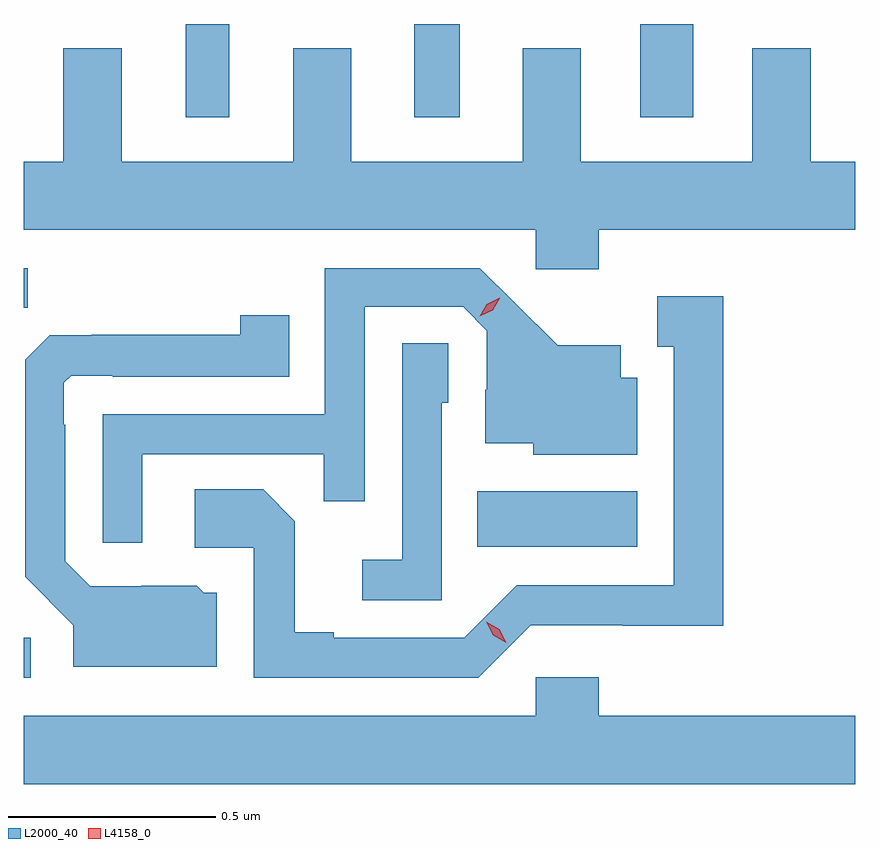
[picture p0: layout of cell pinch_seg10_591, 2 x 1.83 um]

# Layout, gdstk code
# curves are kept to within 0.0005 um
import gdstk
lib = gdstk.Library(unit=1e-6, precision=1e-09)
def R(c, l, rs):  # rectangles x0, y0, x1, y1
    for r in rs: c.add(gdstk.rectangle(r[:2], r[2:], *l))
def P(c, l, *ps):  # polygons
    for p in ps: c.add(gdstk.Polygon(p, *l))
L2000_40 = (2000, 40)
L4158_0 = (4158, 0)

pinch_seg10_591 = lib.new_cell('pinch_seg10_591')
R(pinch_seg10_591, L2000_40, [(338.297,1256.616,338.314,1256.712), (339.388,1256.93,339.772,1257.064), (338.297,1257.505,338.307,1257.6), (338.687,1257.963,338.791,1258.187), (339.236,1257.963,339.346,1258.187), (339.779,1257.963,339.907,1258.187)])
P(pinch_seg10_591, L2000_40, [(339.68,1257.692),(340.297,1257.692),(340.297,1257.856),(340.189,1257.856),(340.189,1258.129),(340.049,1258.129),(340.049,1257.856),(339.637,1257.856),(339.637,1258.129),(339.497,1258.129),(339.497,1257.856),(339.085,1257.856),(339.085,1258.129),(338.945,1258.129),(338.945,1257.856),(338.533,1257.856),(338.533,1258.129),(338.393,1258.129),(338.393,1257.856),(338.297,1257.856),(338.297,1257.692),(339.528,1257.692),(339.528,1257.597),(339.68,1257.597)],
  [(338.583,1257.153),(339.019,1257.153),(339.019,1257.04),(339.117,1257.04),(339.117,1257.507),(339.354,1257.507),(339.411,1257.45),(339.411,1257.308),(339.407,1257.308),(339.407,1257.179),(339.522,1257.179),(339.522,1257.152),(339.772,1257.152),(339.772,1257.337),(339.733,1257.337),(339.733,1257.415),(339.581,1257.415),(339.394,1257.6),(339.021,1257.6),(339.021,1257.249),(338.487,1257.249),(338.487,1256.94),(338.583,1256.94)],
  [(339.516,1256.742),(339.738,1256.742),(339.738,1256.741),(339.979,1256.741),(339.979,1257.532),(339.821,1257.532),(339.821,1257.411),(339.86,1257.411),(339.86,1256.838),(339.483,1256.838),(339.357,1256.712),(339.043,1256.712),(339.043,1256.725),(338.949,1256.725),(338.949,1256.992),(338.873,1257.068),(338.709,1257.068),(338.709,1256.928),(338.85,1256.928),(338.85,1256.616),(339.39,1256.616)],
  [(338.761,1256.82),(338.73,1256.82),(338.714,1256.836),(338.58,1256.836),(338.58,1256.835),(338.457,1256.835),(338.397,1256.895),(338.397,1257.224),(338.394,1257.224),(338.394,1257.324),(338.412,1257.342),(338.512,1257.342),(338.512,1257.339),(338.936,1257.339),(338.936,1257.487),(338.818,1257.487),(338.818,1257.44),(338.461,1257.44),(338.461,1257.439),(338.36,1257.439),(338.301,1257.38),(338.301,1256.858),(338.417,1256.742),(338.417,1256.642),(338.761,1256.642)],
  [(339.303,1257.276),(339.318,1257.276),(339.318,1257.419),(339.207,1257.419),(339.207,1256.899),(339.111,1256.899),(339.111,1256.802),(339.303,1256.802)],
  [(340.297,1256.524),(339.68,1256.524),(339.68,1256.617),(339.528,1256.617),(339.528,1256.524),(338.297,1256.524),(338.297,1256.36),(340.297,1256.36)])
P(pinch_seg10_591, L4158_0, [(339.458,1256.699),(339.426,1256.718),(339.409,1256.75),(339.409,1256.75),(339.409,1256.75),(339.441,1256.732),(339.458,1256.699),(339.458,1256.699)],
  [(339.394,1257.484),(339.394,1257.484),(339.411,1257.513),(339.442,1257.529),(339.442,1257.529),(339.442,1257.528),(339.425,1257.499),(339.394,1257.484)])

lib.write_gds('pinch_seg10_591.gds')
